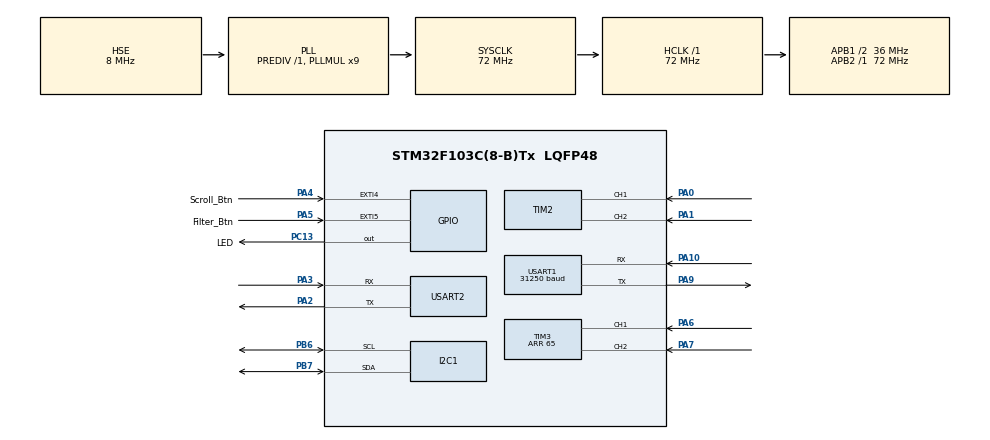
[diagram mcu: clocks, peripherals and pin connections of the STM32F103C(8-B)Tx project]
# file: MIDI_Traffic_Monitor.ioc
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Mcu.Family=STM32F1
Mcu.Name=STM32F103C(8-B)Tx
Mcu.Package=LQFP48
NVIC.EXTI4_IRQn=true\:1\:0\:true\:false\:true\:true\:true\:true
NVIC.EXTI9_5_IRQn=true\:1\:0\:true\:false\:true\:true\:true\:true
NVIC.PriorityGroup=NVIC_PRIORITYGROUP_4
NVIC.TIM4_IRQn=true\:2\:0\:true\:false\:true\:true\:true\:true
NVIC.USART1_IRQn=true\:0\:0\:false\:false\:true\:true\:true\:true
PA0-WKUP.GPIO_PuPd=GPIO_PULLUP
PA0-WKUP.Signal=S_TIM2_CH1_ETR
PA1.GPIO_PuPd=GPIO_PULLUP
PA1.Signal=S_TIM2_CH2
PA10.Mode=Asynchronous
PA10.Signal=USART1_RX
PA13.Mode=Serial_Wire
PA13.Signal=SYS_JTMS-SWDIO
PA14.Mode=Serial_Wire
PA14.Signal=SYS_JTCK-SWCLK
PA2.Mode=Asynchronous
PA2.Signal=USART2_TX
PA3.Mode=Asynchronous
PA3.Signal=USART2_RX
PA4.GPIO_Label=Scroll_Btn
PA4.GPIO_ModeDefaultEXTI=GPIO_MODE_IT_RISING_FALLING
PA4.GPIO_PuPd=GPIO_PULLUP
PA4.Signal=GPXTI4
PA5.GPIO_Label=Filter_Btn
PA5.GPIO_ModeDefaultEXTI=GPIO_MODE_IT_RISING_FALLING
PA5.GPIO_PuPd=GPIO_PULLUP
PA5.Signal=GPXTI5
PA6.GPIO_PuPd=GPIO_PULLUP
PA6.Signal=S_TIM3_CH1
PA7.GPIO_PuPd=GPIO_PULLUP
PA7.Signal=S_TIM3_CH2
PA9.Mode=Asynchronous
PA9.Signal=USART1_TX
PB6.Mode=I2C
PB6.Signal=I2C1_SCL
PB7.Mode=I2C
PB7.Signal=I2C1_SDA
PC13-TAMPER-RTC.GPIO_Label=LED
PC13-TAMPER-RTC.PinState=GPIO_PIN_SET
PC13-TAMPER-RTC.Signal=GPIO_Output
PD0-OSC_IN.Mode=HSE-External-Oscillator
PD0-OSC_IN.Signal=RCC_OSC_IN
PD1-OSC_OUT.Mode=HSE-External-Oscillator
PD1-OSC_OUT.Signal=RCC_OSC_OUT
ProjectManager.HeapSize=0x200
ProjectManager.StackSize=0x400
ProjectManager.TargetToolchain=STM32CubeIDE
RCC.AHBFreq_Value=72000000
RCC.APB1CLKDivider=RCC_HCLK_DIV2
RCC.APB1Freq_Value=36000000
RCC.APB1TimFreq_Value=72000000
RCC.APB2Freq_Value=72000000
RCC.APB2TimFreq_Value=72000000
RCC.HCLKFreq_Value=72000000
RCC.PLLMUL=RCC_PLL_MUL9
RCC.PLLSourceVirtual=RCC_PLLSOURCE_HSE
RCC.SYSCLKFreq_VALUE=72000000
RCC.SYSCLKSource=RCC_SYSCLKSOURCE_PLLCLK
RCC.USBFreq_Value=72000000
SH.S_TIM2_CH1_ETR.0=TIM2_CH1,Encoder_Interface
SH.S_TIM2_CH2.0=TIM2_CH2,Encoder_Interface
SH.S_TIM3_CH1.0=TIM3_CH1,Encoder_Interface
SH.S_TIM3_CH2.0=TIM3_CH2,Encoder_Interface
TIM2.EncoderMode=TIM_ENCODERMODE_TI12
TIM2.IC1Filter=4
TIM2.IC1Polarity=TIM_ICPOLARITY_FALLING
TIM2.IC2Filter=4
TIM2.IC2Polarity=TIM_ICPOLARITY_FALLING
TIM3.EncoderMode=TIM_ENCODERMODE_TI12
TIM3.IC1Filter=4
TIM3.IC1Polarity=TIM_ICPOLARITY_FALLING
TIM3.IC2Filter=4
TIM3.IC2Polarity=TIM_ICPOLARITY_FALLING
TIM3.Period=65
TIM4.Period=500 - 1
TIM4.Prescaler=64800 -1
USART1.BaudRate=31250
USART1.VirtualMode=VM_ASYNC
USART2.VirtualMode=VM_ASYNC
VP_TIM4_VS_OPM.Mode=OPM_bit
board=custom

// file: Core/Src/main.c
/* USER CODE BEGIN Header */
/**
  ******************************************************************************
  * @file           : main.c
  * @brief          : Main program body
  ******************************************************************************
  * @attention
  *
  * Copyright (c) 2025 STMicroelectronics.
  * All rights reserved.
  *
  * This software is licensed under terms that can be found in the LICENSE file
  * in the root directory of this software component.
  * If no LICENSE file comes with this software, it is provided AS-IS.
  *
  ******************************************************************************
  */
/* USER CODE END Header */
#include "main.h"

/* USER CODE BEGIN Includes */
#include "stdio.h"
#include "stdbool.h"
#include "scheduler.h"
#include "tasks.h"
#include "display.h"
#include "filter_channels.h"
#include "session.h"
#include "midi.h"
#include "app_state_machine.h"
#include "ui.h"

/* USER CODE END Includes */

I2C_HandleTypeDef hi2c1;

TIM_HandleTypeDef htim2;
TIM_HandleTypeDef htim3;
TIM_HandleTypeDef htim4;

UART_HandleTypeDef huart1;
UART_HandleTypeDef huart2;

/* USER CODE BEGIN PV */
volatile uint32_t ms_counter = 0;

volatile uint16_t fifo_count = 0; /* FIFO utilization */
uint8_t rxBuffer[80]; /* may not be necessary, single variable may be enough ... needs testing */
volatile uint16_t headPointer = 0, tailPointer = 0; /* FIFO head and tail pointers */

/* optimize uart fifo storage ... pack structure with 24-bit byte_timestamp  */
typedef struct __attribute__((packed)) {
	uint8_t  rx_byte;
	uint32_t byte_timestamp : 24;
} rxData;
volatile rxData rxFIFO[UART_FIFO_SIZE]; /* Rx FIFO ... no rollover protection, older characters overwritten if FIFO fills */

volatile uint32_t midi_timestamp = 0, midi_delta_timestamp = 0;
uint16_t newest_message_encoder_value; /* encoder value for newest message ... will be used to automatically switch from SCROLL to LIVE mode */
stc_midi *ptr_packet;
volatile bool timeoutFlag = false;

/* USER CODE END PV */

void SystemClock_Config(void);
static void MX_GPIO_Init(void);
static void MX_I2C1_Init(void);
static void MX_USART1_UART_Init(void);
static void MX_TIM2_Init(void);
static void MX_USART2_UART_Init(void);
static void MX_TIM3_Init(void);
static void MX_TIM4_Init(void);
/* USER CODE BEGIN PFP */
void HAL_SYSTICK_Callback(void);
void heartbeat_task(void);
void read_encoders(void);
void setup_tasks(void);

/* USER CODE END PFP */

int main(void)
{

  /* USER CODE BEGIN 1 */
  uint8_t rx_data;
  uint32_t rx_data_timestamp;

  /* USER CODE END 1 */

  /* MCU Configuration--------------------------------------------------------*/

  /* Reset of all peripherals, Initializes the Flash interface and the Systick. */
  HAL_Init();

  /* Configure the system clock */
  SystemClock_Config();

  /* Initialize all configured peripherals */
  MX_GPIO_Init();
  MX_I2C1_Init();
  MX_USART1_UART_Init();
  MX_TIM2_Init();
  MX_USART2_UART_Init();
  MX_TIM3_Init();
  MX_TIM4_Init();
  /* USER CODE BEGIN 2 */

  display_init();
  display_splash_screen();

  HAL_Delay(5000);

  /* initialize OLED display and paint opening UI screens */
  display_start_screen();

  // Start the encoder interfaces (TIM2 - scroll encoder, TIM3 - channel filter encoder)
  HAL_TIM_Encoder_Start(&htim2, TIM_CHANNEL_ALL);
  HAL_TIM_Encoder_Start(&htim3, TIM_CHANNEL_ALL);

  __HAL_TIM_CLEAR_IT(&htim4, TIM_FLAG_UPDATE);

  scheduler_init();
  tasks_init();

  printf("\r\n\n---- Application started. -------\r\n");
  printf("Number of history elements initialized = %d\r\n", ui_initialize_ui());
  printf("Number of OLED display lines = %d\r\n", SSD1306_HEIGHT / DISPLAY_DEFAULT_FONT.height - 1);

  HAL_UART_Receive_IT(&huart1, rxBuffer, 1); /* start UART in interrupt mode */
  printf("MIDI UART started.\r\n\n");

  newest_message_encoder_value = __HAL_TIM_GetCounter(&htim2); /* get current scroll encoder value */

  /* USER CODE END 2 */

  /* Infinite loop */
  /* USER CODE BEGIN WHILE */
  while (1)
  {
	  /* check rxFIFO for incoming characters */
	  if(0 != fifo_count) /* if true, new data is available */
	  {
		  rx_data_timestamp = rxFIFO[tailPointer].byte_timestamp; /* retrieve timestamp from FIFO */
		  rx_data = rxFIFO[tailPointer++].rx_byte; /* retrieve new character from FIFO */
		  fifo_count--;
		  if(tailPointer >= UART_FIFO_SIZE) /* manage FIFO pointer rollover */
			  tailPointer = 0;

		  ptr_packet = midi_build_packet(rx_data, rx_data_timestamp); /* build full 3-byte packets, save pointer for later use */
	  }

	  if(midi_isPacketAvailable())
	  {
	      /* hand packet to ui for processing */
		  ui_process_midi_packet(ptr_packet);
	  }

	  if(true == timeoutFlag)
	  {
		  ui_fill_display();
		  timeoutFlag = false; /* clear the timer timeout interrupt flag */
	  }

    /* USER CODE END WHILE */

  }
}

void SystemClock_Config(void)
{
  RCC_OscInitTypeDef RCC_OscInitStruct = {0};
  RCC_ClkInitTypeDef RCC_ClkInitStruct = {0};

  /** Initializes the RCC Oscillators according to the specified parameters
  * in the RCC_OscInitTypeDef structure.
  */
  RCC_OscInitStruct.OscillatorType = RCC_OSCILLATORTYPE_HSE;
  RCC_OscInitStruct.HSEState = RCC_HSE_ON;
  RCC_OscInitStruct.HSEPredivValue = RCC_HSE_PREDIV_DIV1;
  RCC_OscInitStruct.HSIState = RCC_HSI_ON;
  RCC_OscInitStruct.PLL.PLLState = RCC_PLL_ON;
  RCC_OscInitStruct.PLL.PLLSource = RCC_PLLSOURCE_HSE;
  RCC_OscInitStruct.PLL.PLLMUL = RCC_PLL_MUL9;
  if (HAL_RCC_OscConfig(&RCC_OscInitStruct) != HAL_OK)
  {
    Error_Handler();
  }

  /** Initializes the CPU, AHB and APB buses clocks
  */
  RCC_ClkInitStruct.ClockType = RCC_CLOCKTYPE_HCLK|RCC_CLOCKTYPE_SYSCLK
                              |RCC_CLOCKTYPE_PCLK1|RCC_CLOCKTYPE_PCLK2;
  RCC_ClkInitStruct.SYSCLKSource = RCC_SYSCLKSOURCE_PLLCLK;
  RCC_ClkInitStruct.AHBCLKDivider = RCC_SYSCLK_DIV1;
  RCC_ClkInitStruct.APB1CLKDivider = RCC_HCLK_DIV2;
  RCC_ClkInitStruct.APB2CLKDivider = RCC_HCLK_DIV1;

  if (HAL_RCC_ClockConfig(&RCC_ClkInitStruct, FLASH_LATENCY_2) != HAL_OK)
  {
    Error_Handler();
  }
}

static void MX_I2C1_Init(void)
{

  hi2c1.Instance = I2C1;
  hi2c1.Init.ClockSpeed = 100000;
  hi2c1.Init.DutyCycle = I2C_DUTYCYCLE_2;
  hi2c1.Init.OwnAddress1 = 0;
  hi2c1.Init.AddressingMode = I2C_ADDRESSINGMODE_7BIT;
  hi2c1.Init.DualAddressMode = I2C_DUALADDRESS_DISABLE;
  hi2c1.Init.OwnAddress2 = 0;
  hi2c1.Init.GeneralCallMode = I2C_GENERALCALL_DISABLE;
  hi2c1.Init.NoStretchMode = I2C_NOSTRETCH_DISABLE;
  if (HAL_I2C_Init(&hi2c1) != HAL_OK)
  {
    Error_Handler();
  }

}

static void MX_TIM2_Init(void)
{

  TIM_Encoder_InitTypeDef sConfig = {0};
  TIM_MasterConfigTypeDef sMasterConfig = {0};

  htim2.Instance = TIM2;
  htim2.Init.Prescaler = 0;
  htim2.Init.CounterMode = TIM_COUNTERMODE_UP;
  htim2.Init.Period = 65535;
  htim2.Init.ClockDivision = TIM_CLOCKDIVISION_DIV1;
  htim2.Init.AutoReloadPreload = TIM_AUTORELOAD_PRELOAD_DISABLE;
  sConfig.EncoderMode = TIM_ENCODERMODE_TI12;
  sConfig.IC1Polarity = TIM_ICPOLARITY_FALLING;
  sConfig.IC1Selection = TIM_ICSELECTION_DIRECTTI;
  sConfig.IC1Prescaler = TIM_ICPSC_DIV1;
  sConfig.IC1Filter = 4;
  sConfig.IC2Polarity = TIM_ICPOLARITY_FALLING;
  sConfig.IC2Selection = TIM_ICSELECTION_DIRECTTI;
  sConfig.IC2Prescaler = TIM_ICPSC_DIV1;
  sConfig.IC2Filter = 4;
  if (HAL_TIM_Encoder_Init(&htim2, &sConfig) != HAL_OK)
  {
    Error_Handler();
  }
  sMasterConfig.MasterOutputTrigger = TIM_TRGO_RESET;
  sMasterConfig.MasterSlaveMode = TIM_MASTERSLAVEMODE_DISABLE;
  if (HAL_TIMEx_MasterConfigSynchronization(&htim2, &sMasterConfig) != HAL_OK)
  {
    Error_Handler();
  }

}

static void MX_TIM3_Init(void)
{

  TIM_Encoder_InitTypeDef sConfig = {0};
  TIM_MasterConfigTypeDef sMasterConfig = {0};

  htim3.Instance = TIM3;
  htim3.Init.Prescaler = 0;
  htim3.Init.CounterMode = TIM_COUNTERMODE_UP;
  htim3.Init.Period = 65;
  htim3.Init.ClockDivision = TIM_CLOCKDIVISION_DIV1;
  htim3.Init.AutoReloadPreload = TIM_AUTORELOAD_PRELOAD_DISABLE;
  sConfig.EncoderMode = TIM_ENCODERMODE_TI12;
  sConfig.IC1Polarity = TIM_ICPOLARITY_FALLING;
  sConfig.IC1Selection = TIM_ICSELECTION_DIRECTTI;
  sConfig.IC1Prescaler = TIM_ICPSC_DIV1;
  sConfig.IC1Filter = 4;
  sConfig.IC2Polarity = TIM_ICPOLARITY_FALLING;
  sConfig.IC2Selection = TIM_ICSELECTION_DIRECTTI;
  sConfig.IC2Prescaler = TIM_ICPSC_DIV1;
  sConfig.IC2Filter = 4;
  if (HAL_TIM_Encoder_Init(&htim3, &sConfig) != HAL_OK)
  {
    Error_Handler();
  }
  sMasterConfig.MasterOutputTrigger = TIM_TRGO_RESET;
  sMasterConfig.MasterSlaveMode = TIM_MASTERSLAVEMODE_DISABLE;
  if (HAL_TIMEx_MasterConfigSynchronization(&htim3, &sMasterConfig) != HAL_OK)
  {
    Error_Handler();
  }

}

static void MX_TIM4_Init(void)
{

  TIM_MasterConfigTypeDef sMasterConfig = {0};

  htim4.Instance = TIM4;
  htim4.Init.Prescaler = 64800 -1;
  htim4.Init.CounterMode = TIM_COUNTERMODE_UP;
  htim4.Init.Period = 500 - 1;
  htim4.Init.ClockDivision = TIM_CLOCKDIVISION_DIV1;
  htim4.Init.AutoReloadPreload = TIM_AUTORELOAD_PRELOAD_DISABLE;
  if (HAL_TIM_OnePulse_Init(&htim4, TIM_OPMODE_SINGLE) != HAL_OK)
  {
    Error_Handler();
  }
  sMasterConfig.MasterOutputTrigger = TIM_TRGO_RESET;
  sMasterConfig.MasterSlaveMode = TIM_MASTERSLAVEMODE_DISABLE;
  if (HAL_TIMEx_MasterConfigSynchronization(&htim4, &sMasterConfig) != HAL_OK)
  {
    Error_Handler();
  }

}

static void MX_USART1_UART_Init(void)
{

  huart1.Instance = USART1;
  huart1.Init.BaudRate = 31250;
  huart1.Init.WordLength = UART_WORDLENGTH_8B;
  huart1.Init.StopBits = UART_STOPBITS_1;
  huart1.Init.Parity = UART_PARITY_NONE;
  huart1.Init.Mode = UART_MODE_TX_RX;
  huart1.Init.HwFlowCtl = UART_HWCONTROL_NONE;
  huart1.Init.OverSampling = UART_OVERSAMPLING_16;
  if (HAL_UART_Init(&huart1) != HAL_OK)
  {
    Error_Handler();
  }

}

static void MX_USART2_UART_Init(void)
{

  huart2.Instance = USART2;
  huart2.Init.BaudRate = 115200;
  huart2.Init.WordLength = UART_WORDLENGTH_8B;
  huart2.Init.StopBits = UART_STOPBITS_1;
  huart2.Init.Parity = UART_PARITY_NONE;
  huart2.Init.Mode = UART_MODE_TX_RX;
  huart2.Init.HwFlowCtl = UART_HWCONTROL_NONE;
  huart2.Init.OverSampling = UART_OVERSAMPLING_16;
  if (HAL_UART_Init(&huart2) != HAL_OK)
  {
    Error_Handler();
  }

}

static void MX_GPIO_Init(void)
{
  GPIO_InitTypeDef GPIO_InitStruct = {0};

  /* GPIO Ports Clock Enable */
  __HAL_RCC_GPIOC_CLK_ENABLE();
  __HAL_RCC_GPIOD_CLK_ENABLE();
  __HAL_RCC_GPIOA_CLK_ENABLE();
  __HAL_RCC_GPIOB_CLK_ENABLE();

  /*Configure GPIO pin Output Level */
  HAL_GPIO_WritePin(LED_GPIO_Port, LED_Pin, GPIO_PIN_SET);

  /*Configure GPIO pin : LED_Pin */
  GPIO_InitStruct.Pin = LED_Pin;
  GPIO_InitStruct.Mode = GPIO_MODE_OUTPUT_PP;
  GPIO_InitStruct.Pull = GPIO_NOPULL;
  GPIO_InitStruct.Speed = GPIO_SPEED_FREQ_LOW;
  HAL_GPIO_Init(LED_GPIO_Port, &GPIO_InitStruct);

  /*Configure GPIO pins : Scroll_Btn_Pin Filter_Btn_Pin */
  GPIO_InitStruct.Pin = Scroll_Btn_Pin|Filter_Btn_Pin;
  GPIO_InitStruct.Mode = GPIO_MODE_IT_RISING_FALLING;
  GPIO_InitStruct.Pull = GPIO_PULLUP;
  HAL_GPIO_Init(GPIOA, &GPIO_InitStruct);

  /* EXTI interrupt init*/
  HAL_NVIC_SetPriority(EXTI4_IRQn, 1, 0);
  HAL_NVIC_EnableIRQ(EXTI4_IRQn);

  HAL_NVIC_SetPriority(EXTI9_5_IRQn, 1, 0);
  HAL_NVIC_EnableIRQ(EXTI9_5_IRQn);

}

/* USER CODE BEGIN 4 */

void HAL_SYSTICK_Callback(void) {
    ms_counter++;
    run_scheduled_tasks();
}

int __io_putchar(int ch) {
    HAL_UART_Transmit(&huart2, (uint8_t *)&ch, 1, HAL_MAX_DELAY);
    return ch;
}

void HAL_UART_RxCpltCallback(UART_HandleTypeDef *huart)
{
	if (huart->Instance == USART1)
	{
		fifo_count++;
		if(fifo_count > UART_FIFO_SIZE) /* check for FIFO rollover */
		{
			tailPointer = headPointer; /* fast forward tail pointer to catch up with head pointer */
			fifo_count = UART_FIFO_SIZE + 1; /* clamp count to prevent unnecessary "catch-up" latency on UI */
		}
		rxFIFO[headPointer].byte_timestamp = HAL_GetTick(); /* timestamp received byte */
		rxFIFO[headPointer++].rx_byte = rxBuffer[0]; /* place received character from UART in FIFO */

//		HAL_UART_Transmit(&huart2, rxBuffer, 1, HAL_MAX_DELAY); /* echo raw data to console */

		if(headPointer >= UART_FIFO_SIZE) /* manage headPointer rollover (new arrivals will overwrite older) */
			headPointer = 0;

		HAL_UART_Receive_IT(&huart1, rxBuffer, 1); /* restart UART Rx interrupt */
	}
}

/**
  * TIM4 - time-out timer
  *
  * @brief  Period elapsed callback in non blocking mode
  * @param  htim : TIM handle
  * @retval None
  */
void HAL_TIM_PeriodElapsedCallback(TIM_HandleTypeDef *htim)
{
	if(htim->Instance == TIM4)
	{
		timeoutFlag = true; /* set timeOut flag to indicate scroll screen should be updated */
		HAL_TIM_Base_Stop_IT(htim);
	}

}

/* USER CODE END 4 */

void Error_Handler(void)
{
  __disable_irq();
  while (1)
  {
  }
}
